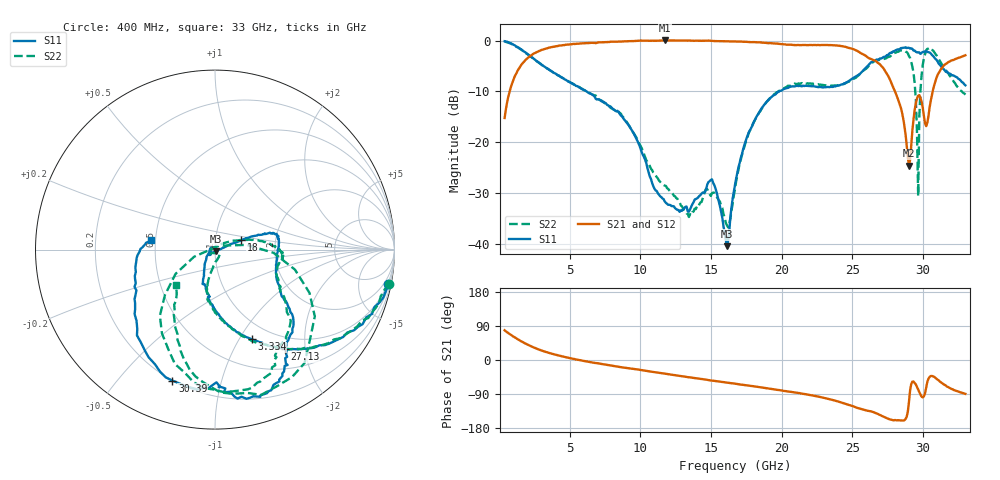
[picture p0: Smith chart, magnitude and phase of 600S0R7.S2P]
!  American Technical Ceramics  Date:  10/26/00
!  One Norden Lane
!  Huntington Station,  NY.  11746-2102
!  Tel:  (631) 622-4700  Fax:  (631) 622-4748
!  Part Number  600S0R7AW  Mounting Orientation: Horizontal
!  Description: Ultra Low ESR Microwave capacitors
!  Application: Coupling, Bypass, Tuning, DC Block
!  Filters, Matching
# GHZ S DB R 50
! Freq  |S11|  S11 Ph  |S21|  S21 Ph  |S12|  S12 Ph  |S22|  S22 Ph
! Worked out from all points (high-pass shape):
!   401 points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, 400 MHz to 33 GHz, reference 50 ohm
!   highest |S21| = 0.02 dB at 11.73 GHz (marker M1); lowest = -24.6 dB at 29.01 GHz (marker M2)
!   |S21| within 3 dB of the highest: 2.241 GHz to 25.93 GHz (23.69 GHz wide, 168 % of centre); 32.919 GHz to end of sweep
!   lowest |S11| = -40.4 dB at 16.13 GHz (marker M3), VSWR 1.02, Z = 50.4 - j0.866 ohm
!   |S11| at or under -10 dB: 6.2 GHz to 19.82 GHz (13.62 GHz wide, 105 % of centre)
!   |S22| runs from -36.7 to -0.1 dB; largest |S21 - S12| = 0.0087
!   S11 on the Smith chart (normalised r, x): 400 MHz: 1, -10; 3.334 GHz: 0.80, -1.13; 18 GHz: 1.34, +0.14; 27.13 GHz: 0.79, -1.62; 30.39 GHz: 0.20, -0.71; 33 GHz: 0.47, +0.06
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0.4  -0.13 -11.4  -15.22 78.5  -15.23 78.4  -0.11 -11.0
1.46  -1.56 -37.9  -5.32 51.8  -5.30 52.1  -1.61 -37.0
3.334  -5.35 -67.7  -1.57 21.1  -1.56 21.1  -5.37 -68.7
5.861  -9.51 -90.0  -0.58 -1.4  -0.58 -1.5  -9.44 -91.4
9.039  -16.16 -112.9  -0.14 -21.0  -0.16 -21.2  -15.99 -102.1
11.321  -30.29 -171.5  -0.01 -33.6  -0.03 -33.8  -27.49 -57.5
11.729  -31.61 162.6  0.02 -36.0  0.01 -36.1  -28.50 -44.5
13.44  -33.64 -179.8  0.01 -45.6  -0.01 -45.7  -34.68 -92.4
15.07  -27.27 -137.7  -0.08 -54.5  -0.08 -54.4  -30.00 -151.0
16.13  -40.41 -64.3  -0.16 -59.7  -0.16 -59.7  -36.30 138.4
16.7  -28.37 9.1  -0.16 -62.6  -0.18 -62.5  -29.17 48.2
18.004  -16.17 19.3  -0.30 -69.1  -0.31 -69.3  -16.18 19.9
22.161  -8.98 3.8  -0.89 -93.3  -0.88 -93.3  -8.46 -7.6
27.132  -3.39 -55.1  -5.20 -148.5  -5.25 -148.2  -3.69 -57.6
27.621  -2.54 -58.1  -7.41 -156.3  -7.43 -156.1  -3.19 -60.8
29.007  -1.42 -78.1  -24.61 -110.6  -24.39 -109.6  -3.04 -104.0
29.333  -1.98 -83.9  -15.41 -56.9  -15.36 -58.0  -6.37 -129.8
29.659  -2.31 -88.5  -10.84 -78.3  -10.91 -78.4  -30.55 45.4
30.066  -2.24 -94.6  -14.83 -95.8  -14.79 -95.0  -3.49 -33.8
30.392  -2.30 -108.0  -14.73 -48.9  -14.63 -48.9  -1.56 -65.4
31.126  -4.58 -137.8  -6.33 -54.3  -6.34 -54.8  -3.69 -104.1
33  -8.80 171.6  -2.89 -89.4  -2.88 -89.6  -10.63 -138.1
